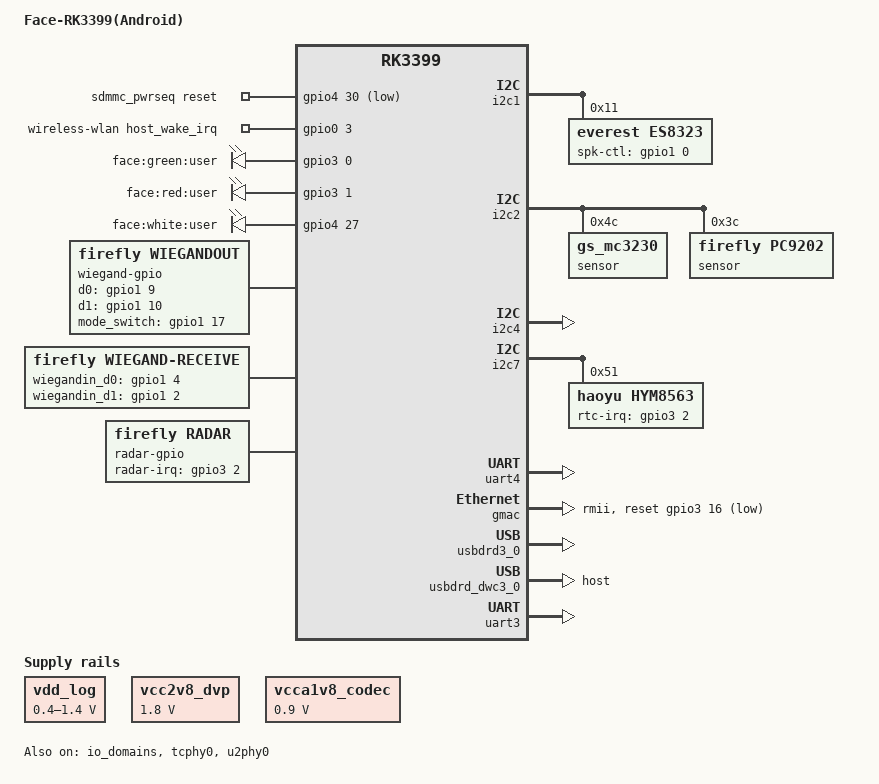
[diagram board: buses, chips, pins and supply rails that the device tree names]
/*
 * Copyright (c) 2016 Fuzhou Rockchip Electronics Co., Ltd
 *
 * This file is dual-licensed: you can use it either under the terms
 * of the GPL or the X11 license, at your option. Note that this dual
 * licensing only applies to this file, and not this project as a
 * whole.
 *
 *  a) This file is free software; you can redistribute it and/or
 *     modify it under the terms of the GNU General Public License as
 *     published by the Free Software Foundation; either version 2 of the
 *     License, or (at your option) any later version.
 *
 *     This file is distributed in the hope that it will be useful,
 *     but WITHOUT ANY WARRANTY; without even the implied warranty of
 *     MERCHANTABILITY or FITNESS FOR A PARTICULAR PURPOSE.  See the
 *     GNU General Public License for more details.
 *
 * Or, alternatively,
 *
 *  b) Permission is hereby granted, free of charge, to any person
 *     obtaining a copy of this software and associated documentation
 *     files (the "Software"), to deal in the Software without
 *     restriction, including without limitation the rights to use,
 *     copy, modify, merge, publish, distribute, sublicense, and/or
 *     sell copies of the Software, and to permit persons to whom the
 *     Software is furnished to do so, subject to the following
 *     conditions:
 *
 *     The above copyright notice and this permission notice shall be
 *     included in all copies or substantial portions of the Software.
 *
 *     THE SOFTWARE IS PROVIDED "AS IS", WITHOUT WARRANTY OF ANY KIND,
 *     EXPRESS OR IMPLIED, INCLUDING BUT NOT LIMITED TO THE WARRANTIES
 *     OF MERCHANTABILITY, FITNESS FOR A PARTICULAR PURPOSE AND
 *     NONINFRINGEMENT. IN NO EVENT SHALL THE AUTHORS OR COPYRIGHT
 *     HOLDERS BE LIABLE FOR ANY CLAIM, DAMAGES OR OTHER LIABILITY,
 *     WHETHER IN AN ACTION OF CONTRACT, TORT OR OTHERWISE, ARISING
 *     FROM, OUT OF OR IN CONNECTION WITH THE SOFTWARE OR THE USE OR
 *     OTHER DEALINGS IN THE SOFTWARE.
 */


#include "rk3399-firefly-port.dtsi"
#include <dt-bindings/sensor-dev.h>
/ {
	model = "Face-RK3399(Android)";
	compatible = "rockchip,android", "rockchip,rk3399-firefly-face", "rockchip,rk3399";

	test-power {
		status = "okay";
	};

    sdmmc_pwrseq: sdmmc-pwrseq {
        compatible = "mmc-pwrseq-simple";
        clocks = <&rk808 1>;
        clock-names = "ext_clock";
        pinctrl-names = "default";
        pinctrl-0 = <&sdcard_enable_h>;
        /*
         * On the module itself this is one of these (depending
         * on the actual card populated):
         * - SDIO_RESET_L_WL_REG_ON
         * - PDN (power down when low)
         */
        reset-gpios = <&gpio4 30 GPIO_ACTIVE_LOW>; /* GPIO4_D6 */
    };

    wireless-wlan {
        compatible = "wlan-platdata";
        rockchip,grf = <&grf>;
        wifi_chip_type = "ap6181";
        sdio_vref = <1800>;
        WIFI,host_wake_irq = <&gpio0 3 GPIO_ACTIVE_HIGH>; /* GPIO0_a3 */
        status = "okay";
    };

    face_leds {
        status = "okay";
        compatible = "gpio-leds";
        face_green_led: face_green {
            label = "face:green:user";
            linux,default-trigger = "ir-user-click";
            default-state = "off";
            gpios = <&gpio3 0 GPIO_ACTIVE_HIGH>;
            //gpios = <&gpio0 8 GPIO_ACTIVE_HIGH>;
            pinctrl-names = "default";
            pinctrl-0 = <&led_user>;
        };

        face_red_led: face_red {
            label = "face:red:user";
            linux,default-trigger = "ir-user-click";
            default-state = "off";
            gpios = <&gpio3 1 GPIO_ACTIVE_HIGH>;
            //gpios = <&gpio4 24 GPIO_ACTIVE_HIGH>;
            pinctrl-names = "default";
            pinctrl-0 = <&led_user>;
        };

        face_white_led: face_white {
            label = "face:white:user";
            linux,default-trigger = "ir-user-click";
            default-state = "off";
            gpios = <&gpio4 27 GPIO_ACTIVE_HIGH>;
            pinctrl-names = "default";
            pinctrl-0 = <&led_user>;
        };
    };

    wiegand-gpio {
        compatible = "firefly,wiegandout";
        level_effect = <1>;/*0-low effect 1-high effect*/
        gpio_d0 = <&gpio1 9 GPIO_ACTIVE_HIGH>;
        gpio_d1 = <&gpio1 10 GPIO_ACTIVE_HIGH>;
        gpio_mode_switch = <&gpio1 17 GPIO_ACTIVE_HIGH>;
        status = "okay";
    };

    wiegand-receive {
        compatible = "firefly,wiegand-receive";
        status = "okay";
        wiegandin_d0 = <&gpio1 4 GPIO_ACTIVE_HIGH>;
        wiegandin_d1 = <&gpio1 2 GPIO_ACTIVE_HIGH>;
    };

	wireless-bluetooth {
		compatible = "bluetooth-platdata";
		status = "disabled";
	};

    radar-gpio {
        compatible = "firefly,radar";
        //radar-irq-gpio = <&gpio4 25 IRQ_TYPE_EDGE_BOTH>;
        radar-irq-gpio = <&gpio3 2 IRQ_TYPE_EDGE_BOTH>;
        //radar-led-gpio = <&gpio4 27 GPIO_ACTIVE_HIGH>;
        status = "okay";
    };

	es8323_sound: es8323-sound {
		status = "disabled";
		compatible = "simple-audio-card";
		simple-audio-card,format = "i2s";
		simple-audio-card,name = "rockchip,es8323-codec";
		simple-audio-card,mclk-fs = <256>;
		simple-audio-card,widgets =
			"Microphone", "Mic Jack",
			"Headphone", "Headphone Jack";
		simple-audio-card,routing =
			"Mic Jack", "MICBIAS1",
			"IN1P", "Mic Jack",
			"Headphone Jack", "HPOL",
			"Headphone Jack", "HPOR";
		simple-audio-card,cpu {
			sound-dai = <&i2s1>;
			system-clock-frequency = <11289600>;
		};
		simple-audio-card,codec {
			sound-dai = <&es8323>;
			system-clock-frequency = <11289600>;
		};
	};
};

&vdd_log {
    regulator-min-microvolt = <400000>;
    regulator-max-microvolt = <1400000>;
    rockchip,pwm_voltage = <1000000>;
};

&sdmmc {
	/delete-property/ vmmc-supply;
    mmc-pwrseq = <&sdmmc_pwrseq>;
    sd-uhs-sdr104;
};

&dfi {
    status = "disabled";
};

&dmc {
    status = "disabled";
    center-supply = <&vdd_center>;
    system-status-freq = <
        /*system status freq(KHz)*/
        SYS_STATUS_NORMAL 856000
        SYS_STATUS_REBOOT 416000
        SYS_STATUS_SUSPEND 416000
        SYS_STATUS_VIDEO_1080P 416000
        SYS_STATUS_VIDEO_4K 856000
        SYS_STATUS_VIDEO_4K_10B 856000
        SYS_STATUS_PERFORMANCE 856000
        SYS_STATUS_BOOST 856000
        SYS_STATUS_DUALVIEW 856000
        SYS_STATUS_ISP 856000
    >;
    vop-bw-dmc-freq = <
        /* min_bw(MB/s) max_bw(MB/s) freq(KHz) */
        0 577 416000
        578 99999 856000
    >;
    auto-min-freq = <416000>;
    auto-freq-en = <1>;
};

&dmc_opp_table {
    compatible = "operating-points-v2";
    opp-200000000 {
        opp-hz = /bits/ 64 <200000000>;
        opp-microvolt = <900000>;
        status = "disabled";
    };
    opp-300000000 {
        opp-hz = /bits/ 64 <300000000>;
        opp-microvolt = <900000>;
        status = "disabled";
    };
    opp-400000000 {
        opp-hz = /bits/ 64 <400000000>;
        opp-microvolt = <900000>;
        status = "disabled";
    };
    opp-416000000 {
        opp-hz = /bits/ 64 <416000000>;
        opp-microvolt = <900000>;
    };
    opp-528000000 {
        opp-hz = /bits/ 64 <528000000>;
        opp-microvolt = <900000>;
        status = "disabled";
    };
    opp-600000000 {
        opp-hz = /bits/ 64 <600000000>;
        opp-microvolt = <900000>;
        status = "disabled";
    };
    opp-800000000 {
        opp-hz = /bits/ 64 <800000000>;
        opp-microvolt = <900000>;
        status = "disabled";
    };
    opp-856000000 {
        opp-hz = /bits/ 64 <856000000>;
        opp-microvolt = <900000>;
    };
    opp-928000000 {
        opp-hz = /bits/ 64 <928000000>;
        opp-microvolt = <900000>;
        status = "disabled";
    };
    opp-1056000000 {
        opp-hz = /bits/ 64 <1056000000>;
        opp-microvolt = <900000>;
        status = "disabled";
    };
};

&i2c1 {

	status = "okay";
	i2c-scl-rising-time-ns = <300>;
	i2c-scl-falling-time-ns = <15>;
	/delete-node/ ov13850@36;
	/delete-node/ ov13850@46;

	es8323: es8323@10 {
        compatible = "everest,es8323";
        status = "okay";
        reg = <0x11>;
        spk-ctl-gpio = <&gpio1 0 GPIO_ACTIVE_HIGH>;
        clock-names = "mclk";
        clocks = <&cru SCLK_I2S_8CH_OUT>;
        pinctrl-names = "default";
        pinctrl-0 = <&i2s_8ch_mclk>;
		pinctrl-1 = <&ear_ctl_h>;
        #sound-dai-cells = <0>;
    };

	XC7022: XC7022@36{
		status = "disabled";
		compatible = "firefly,xc7022";
		reg = <0x1b>;
		reset-gpios = <&gpio1 23 GPIO_ACTIVE_HIGH>;
		pinctrl-names = "default";
		pinctrl-0 = <&xc7022_reset_pin>;

		port {
			ucam_out1: endpoint {
				remote-endpoint = <&mipi_in_ucam1>;
				data-lanes = <1 2>;
			};
		};
	};

	XC6130: XC6130@46{
		status = "disabled";
		compatible = "firefly,xc7022";
		reg = <0x23>;
		reset-gpios = <&gpio1 22 GPIO_ACTIVE_HIGH>;
		pinctrl-names = "default";
		pinctrl-0 = <&xc6130_reset_pin>;

		port {
			ucam_out0: endpoint {
				remote-endpoint = <&mipi_in_ucam0>;
				data-lanes = <1 2>;
			};
		};
	};
};

&i2c2 {
    status = "okay";
    i2c-scl-rising-time-ns = <300>;
    i2c-scl-falling-time-ns = <15>;

    sensor@4c {
        status = "okay";
        compatible = "gs_mc3230";
        reg = <0x4c>;
        type = <SENSOR_TYPE_ACCEL>;
        irq_enable = <0>;
        poll_delay_ms = <30>;
        layout = <1>;
    };

    sensor@3c {
        status = "okay";
        compatible = "firefly,pc9202";
        reg = <0x3c>;
    };
};

&i2c4 {
	status = "okay";
	i2c-scl-rising-time-ns = <600>;
	i2c-scl-falling-time-ns = <20>;

	gsl3680: gsl3680@40 {
	    status = "disabled";
	    compatible = "gslX680";
	    reg = <0x40>;
	    screen_max_x = <800>;
	    screen_max_y = <1280>;
	    flip-x = <0>;
	    flip-y = <0>;
	    swap-xy = <0>;
	    gsl,fw = <0>;
	    touch-gpio = <&gpio4 28 IRQ_TYPE_LEVEL_LOW>;
	    reset-gpio = <&gpio4 21 GPIO_ACTIVE_HIGH>;
	};
};


&i2c7 {
	status = "okay";
	i2c-scl-rising-time-ns = <300>;
	i2c-scl-falling-time-ns = <15>;

	hym8563: hym8563@51 {
		compatible = "haoyu,hym8563";
		reg = <0x51>;
        rtc-irq-gpio = <&gpio3 2 IRQ_TYPE_LEVEL_LOW>;
		/* rtc_int is not connected */
        status = "okay";
	};

};

&io_domains {
	status = "okay";
	bt656-supply = <&vcc_3v0>;
	audio-supply = <&vcca1v8_codec>;	/* audio_gpio3d4a_ms */
};

&vcc2v8_dvp {
	regulator-min-microvolt = <1800000>;
	regulator-max-microvolt = <1800000>;
};

&vcc_sd {
	regulator-max-microvolt = <3000000>;
	regulator-state-mem {
		regulator-suspend-microvolt = <3000000>;
	};
};

&vcca1v8_codec {
	regulator-min-microvolt = <900000>;
	regulator-max-microvolt = <900000>;
};

&pinctrl {
    pinctrl-names = "default";
    pinctrl-0 = <&host_hub_vcc>;

    host-hub-vcc {
        host_hub_vcc: host-hub-vcc {
        rockchip,pins = //<1 23 RK_FUNC_GPIO &pcfg_output_high>,
                        <2 4 RK_FUNC_GPIO &pcfg_output_high>,
                        //<0 8 RK_FUNC_GPIO &pcfg_output_low>,
                        <0 8 RK_FUNC_GPIO &pcfg_output_high>,
                        <4 24 RK_FUNC_GPIO &pcfg_output_low>,
                        <4 27 RK_FUNC_GPIO &pcfg_output_low>,
                        <4 29 RK_FUNC_GPIO &pcfg_output_high>;
        };
    };

    sdmmc-pwrseq {
        sdcard_enable_h: sdcard-enable-h {
        rockchip,pins = <4 30 RK_FUNC_GPIO &pcfg_pull_none>;
        };
    };

	es8328-pins{
		ear_ctl_h: ear-ctl-h {
            rockchip,pins = <1 0 RK_FUNC_GPIO &pcfg_pull_down>;
		};
	};

	camera-pins{
		xc7022_reset_pin: xc7022-reset-pin{
			rockchip,pins = <1 23 RK_FUNC_GPIO &pcfg_pull_none>;
		};

		xc6130_reset_pin: xc6130-reset-pin{
			rockchip,pins = <1 22 RK_FUNC_GPIO &pcfg_pull_none>;
		};
	};
};

&uart4 {
    status = "okay";
};

&host_vbus_drv {
	rockchip,pins =
		<4 29 RK_FUNC_GPIO &pcfg_pull_none>;
};
&vcc5v0_host{
    gpio = <&gpio4 29 GPIO_ACTIVE_HIGH>;
};

&vcc3v3_3g {
    gpio = <&gpio2 6 GPIO_ACTIVE_HIGH>;
};

&pcie_3g_drv {
    rockchip,pins = <2 6 RK_FUNC_GPIO &pcfg_pull_up>;
};

&clkin_gmac {
    clock-frequency = <50000000>;
};

&gmac {
    phy-mode = "rmii";
    clock_in_out = "output";
};

&rt5640 {
	status = "disabled";
};

&fusb0 {
    status = "disabled";
};

&cdn_dp {
    status = "disabled";
};

&tcphy0 {
    /delete-property/ extcon;
    status = "okay";
};

&u2phy0 {
    status = "okay";
    /delete-property/ extcon;

    u2phy0_otg: otg-port {
        rockchip,vbus-always-on;
        vbus-5v-gpios = <&gpio1 3 GPIO_ACTIVE_HIGH>;
        status = "okay";
    };
};

&usbdrd3_0 {
    status = "okay";
    /delete-property/ extcon;
};

&usbdrd_dwc3_0 {
    dr_mode = "host";
};

&route_hdmi{
	status = "disabled";
};

&hdmi_dp_sound {
    status = "disabled";
};

&spdif {
    status = "disabled";
};

&spdif_out {
  status = "disabled";
};

&uart3 {
    status = "okay";
};

&gmac {
    snps,reset-gpio = <&gpio3 16 GPIO_ACTIVE_LOW>;
};

&spi4 {
    status = "disabled";
    max-freq = <48000000>;
    spidev@00 {
        status = "disabled";
        compatible = "linux,spidev";
        reg = <0x00>;
        spi-max-frequency = <48000000>;
    };
};

&rgmii_pins {
	rockchip,pins =
	/* mac_txclk */
			<3 17 RK_FUNC_1 &pcfg_pull_none_13ma>,
			/* mac_rxclk */
			//<3 14 RK_FUNC_1 &pcfg_pull_none>,
			/* mac_mdio */
			<3 13 RK_FUNC_1 &pcfg_pull_none>,
			/* mac_txen */
			<3 12 RK_FUNC_1 &pcfg_pull_none_13ma>,
			/* mac_clk */
			<3 11 RK_FUNC_1 &pcfg_pull_none>,
			/* mac_rxdv */
			<3 9 RK_FUNC_1 &pcfg_pull_none>,
			/* mac_mdc */
			<3 8 RK_FUNC_1 &pcfg_pull_none>,
			/* mac_rxd1 */
			<3 7 RK_FUNC_1 &pcfg_pull_none>,
			/* mac_rxd0 */
			<3 6 RK_FUNC_1 &pcfg_pull_none>,
			/* mac_txd1 */
			<3 5 RK_FUNC_1 &pcfg_pull_none_13ma>,
			/* mac_txd0 */
			<3 4 RK_FUNC_1 &pcfg_pull_none_13ma>;
			/* mac_rxd3 */
			//<3 3 RK_FUNC_1 &pcfg_pull_none>,
			/* mac_rxd2 */
			//<3 2 RK_FUNC_1 &pcfg_pull_none>,
			/* mac_txd3 */
			//<3 1 RK_FUNC_1 &pcfg_pull_none_13ma>,
			/* mac_txd2 */
			//<3 0 RK_FUNC_1 &pcfg_pull_none_13ma>;
};
